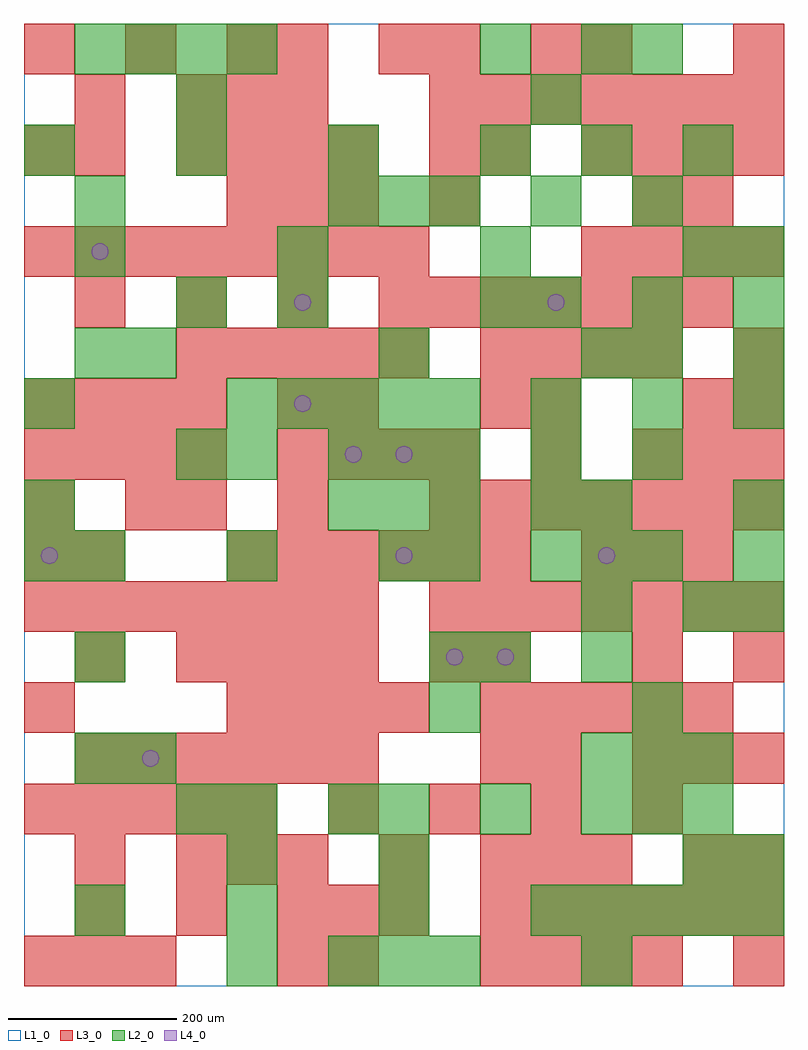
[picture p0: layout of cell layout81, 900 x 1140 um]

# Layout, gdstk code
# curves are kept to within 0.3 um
import gdstk
lib = gdstk.Library(unit=1e-6, precision=1e-09)
def R(c, l, rs):  # rectangles x0, y0, x1, y1
    for r in rs: c.add(gdstk.rectangle(r[:2], r[2:], *l))
def A(c, l, x, y, w, h, nx, ny, dx, dy):  # array of equal rectangles
    R(c, l, [(x+i*dx, y+j*dy, x+i*dx+w, y+j*dy+h) for i in range(nx) for j in range(ny)])
def P(c, l, *ps):  # polygons
    for p in ps: c.add(gdstk.Polygon(p, *l))
L1_0 = (1, 0)
L2_0 = (2, 0)
L3_0 = (3, 0)
L4_0 = (4, 0)

layout81 = lib.new_cell('layout81')
R(layout81, L1_0, [(0,0,900,1140)])
A(layout81, L2_0, 360, 0, 60, 60, 3, 2, 60, 540)
A(layout81, L2_0, 60, 60, 60, 60, 4, 1, 180, 0)
A(layout81, L2_0, 660, 60, 60, 60, 4, 1, 60, 0)
A(layout81, L2_0, 420, 180, 60, 60, 3, 1, 120, 0)
A(layout81, L2_0, 660, 240, 60, 60, 3, 1, 60, 0)
A(layout81, L2_0, 840, 420, 60, 60, 1, 3, 0, 60)
A(layout81, L2_0, 60, 480, 60, 60, 3, 1, 180, 0)
A(layout81, L2_0, 600, 480, 60, 60, 3, 1, 60, 0)
A(layout81, L2_0, 360, 600, 60, 60, 3, 2, 60, 300)
A(layout81, L2_0, 240, 660, 60, 60, 5, 1, 60, 0)
A(layout81, L2_0, 600, 660, 60, 60, 3, 2, 120, 120)
A(layout81, L2_0, 720, 720, 60, 60, 1, 3, 0, 180)
A(layout81, L2_0, 60, 840, 60, 60, 4, 1, 240, 0)
A(layout81, L2_0, 0, 960, 60, 60, 4, 1, 180, 0)
A(layout81, L2_0, 60, 1080, 60, 60, 4, 1, 60, 0)
R(layout81, L2_0, [(240,0,300,60), (660,0,720,60), (240,120,300,180), (420,120,480,180), (780,120,840,180), (840,120,900,180), (180,180,240,240), (240,180,300,240), (360,180,420,240), (720,180,780,240), (780,180,840,240), (60,240,120,300), (120,240,180,300), (480,300,540,360), (720,300,780,360), (60,360,120,420), (480,360,540,420), (540,360,600,420), (660,360,720,420), (660,420,720,480), (780,420,840,480), (0,480,60,540), (480,480,540,540), (0,540,60,600), (600,540,660,600), (660,540,720,600), (180,600,240,660), (240,600,300,660), (600,600,660,660), (720,600,780,660), (0,660,60,720), (60,720,120,780), (120,720,180,780), (420,720,480,780), (660,720,720,780), (840,720,900,780), (180,780,240,840), (300,780,360,840), (540,780,600,840), (840,840,900,900), (60,900,120,960), (600,900,660,960), (660,960,720,1020), (780,960,840,1020), (180,1020,240,1080), (600,1020,660,1080), (540,1080,600,1140), (660,1080,720,1140)])
A(layout81, L3_0, 0, 0, 60, 60, 3, 1, 60, 0)
A(layout81, L3_0, 540, 0, 60, 60, 4, 2, 60, 720)
A(layout81, L3_0, 60, 60, 60, 60, 3, 1, 120, 0)
A(layout81, L3_0, 540, 60, 60, 60, 6, 1, 60, 0)
A(layout81, L3_0, 180, 120, 60, 60, 3, 2, 60, 900)
A(layout81, L3_0, 540, 120, 60, 60, 3, 1, 60, 0)
A(layout81, L3_0, 0, 180, 60, 60, 5, 1, 60, 0)
A(layout81, L3_0, 360, 180, 60, 60, 4, 1, 120, 0)
A(layout81, L3_0, 60, 240, 60, 60, 6, 1, 60, 0)
A(layout81, L3_0, 720, 240, 60, 60, 3, 2, 60, 360)
A(layout81, L3_0, 240, 300, 60, 60, 4, 1, 60, 0)
A(layout81, L3_0, 540, 300, 60, 60, 5, 1, 60, 0)
A(layout81, L3_0, 180, 360, 60, 60, 4, 2, 60, 600)
A(layout81, L3_0, 540, 360, 60, 60, 1, 3, 0, 300)
A(layout81, L3_0, 0, 420, 60, 60, 7, 1, 60, 0)
A(layout81, L3_0, 480, 420, 60, 60, 7, 2, 60, 120)
A(layout81, L3_0, 240, 480, 60, 60, 6, 1, 60, 0)
A(layout81, L3_0, 660, 480, 60, 60, 3, 1, 60, 0)
A(layout81, L3_0, 0, 600, 60, 60, 4, 2, 60, 60)
A(layout81, L3_0, 300, 600, 60, 60, 4, 1, 60, 0)
A(layout81, L3_0, 180, 720, 60, 60, 5, 1, 60, 0)
A(layout81, L3_0, 60, 780, 60, 60, 4, 1, 120, 0)
A(layout81, L3_0, 480, 780, 60, 60, 6, 1, 60, 0)
A(layout81, L3_0, 0, 840, 60, 60, 8, 1, 60, 0)
A(layout81, L3_0, 660, 840, 60, 60, 4, 2, 60, 120)
A(layout81, L3_0, 240, 900, 60, 60, 3, 1, 60, 0)
A(layout81, L3_0, 480, 1020, 60, 60, 7, 1, 60, 0)
A(layout81, L3_0, 0, 1080, 60, 60, 3, 1, 120, 0)
R(layout81, L3_0, [(300,0,360,60), (360,0,420,60), (840,0,900,60), (360,60,420,120), (420,60,480,120), (60,120,120,180), (420,120,480,180), (780,120,840,180), (840,120,900,180), (540,240,600,300), (600,240,660,300), (0,300,60,360), (60,360,120,420), (480,360,540,420), (720,360,780,420), (840,360,900,420), (0,480,60,540), (60,480,120,540), (0,540,60,600), (120,540,180,600), (180,540,240,600), (300,540,360,600), (600,600,660,660), (300,660,360,720), (360,660,420,720), (600,660,660,720), (780,660,840,720), (840,660,900,720), (840,720,900,780), (480,900,540,960), (720,900,780,960), (780,900,840,960), (0,960,60,1020), (60,960,120,1020), (480,960,540,1020), (60,1020,120,1080), (300,1080,360,1140), (420,1080,480,1140), (480,1080,540,1140), (600,1080,660,1140), (660,1080,720,1140), (840,1080,900,1140)])
P(layout81, L4_0, [(40,510),(39.239,513.827),(37.071,517.071),(33.827,519.239),(30,520),(26.173,519.239),(22.929,517.071),(20.761,513.827),(20,510),(20.761,506.173),(22.929,502.929),(26.173,500.761),(30,500),(33.827,500.761),(37.071,502.929),(39.239,506.173)],
  [(100,870),(99.239,873.827),(97.071,877.071),(93.827,879.239),(90,880),(86.173,879.239),(82.929,877.071),(80.761,873.827),(80,870),(80.761,866.173),(82.929,862.929),(86.173,860.761),(90,860),(93.827,860.761),(97.071,862.929),(99.239,866.173)],
  [(160,270),(159.239,273.827),(157.071,277.071),(153.827,279.239),(150,280),(146.173,279.239),(142.929,277.071),(140.761,273.827),(140,270),(140.761,266.173),(142.929,262.929),(146.173,260.761),(150,260),(153.827,260.761),(157.071,262.929),(159.239,266.173)],
  [(340,690),(339.239,693.827),(337.071,697.071),(333.827,699.239),(330,700),(326.173,699.239),(322.929,697.071),(320.761,693.827),(320,690),(320.761,686.173),(322.929,682.929),(326.173,680.761),(330,680),(333.827,680.761),(337.071,682.929),(339.239,686.173)],
  [(340,810),(339.239,813.827),(337.071,817.071),(333.827,819.239),(330,820),(326.173,819.239),(322.929,817.071),(320.761,813.827),(320,810),(320.761,806.173),(322.929,802.929),(326.173,800.761),(330,800),(333.827,800.761),(337.071,802.929),(339.239,806.173)],
  [(400,630),(399.239,633.827),(397.071,637.071),(393.827,639.239),(390,640),(386.173,639.239),(382.929,637.071),(380.761,633.827),(380,630),(380.761,626.173),(382.929,622.929),(386.173,620.761),(390,620),(393.827,620.761),(397.071,622.929),(399.239,626.173)],
  [(460,510),(459.239,513.827),(457.071,517.071),(453.827,519.239),(450,520),(446.173,519.239),(442.929,517.071),(440.761,513.827),(440,510),(440.761,506.173),(442.929,502.929),(446.173,500.761),(450,500),(453.827,500.761),(457.071,502.929),(459.239,506.173)],
  [(460,630),(459.239,633.827),(457.071,637.071),(453.827,639.239),(450,640),(446.173,639.239),(442.929,637.071),(440.761,633.827),(440,630),(440.761,626.173),(442.929,622.929),(446.173,620.761),(450,620),(453.827,620.761),(457.071,622.929),(459.239,626.173)],
  [(520,390),(519.239,393.827),(517.071,397.071),(513.827,399.239),(510,400),(506.173,399.239),(502.929,397.071),(500.761,393.827),(500,390),(500.761,386.173),(502.929,382.929),(506.173,380.761),(510,380),(513.827,380.761),(517.071,382.929),(519.239,386.173)],
  [(580,390),(579.239,393.827),(577.071,397.071),(573.827,399.239),(570,400),(566.173,399.239),(562.929,397.071),(560.761,393.827),(560,390),(560.761,386.173),(562.929,382.929),(566.173,380.761),(570,380),(573.827,380.761),(577.071,382.929),(579.239,386.173)],
  [(640,810),(639.239,813.827),(637.071,817.071),(633.827,819.239),(630,820),(626.173,819.239),(622.929,817.071),(620.761,813.827),(620,810),(620.761,806.173),(622.929,802.929),(626.173,800.761),(630,800),(633.827,800.761),(637.071,802.929),(639.239,806.173)],
  [(700,510),(699.239,513.827),(697.071,517.071),(693.827,519.239),(690,520),(686.173,519.239),(682.929,517.071),(680.761,513.827),(680,510),(680.761,506.173),(682.929,502.929),(686.173,500.761),(690,500),(693.827,500.761),(697.071,502.929),(699.239,506.173)])

lib.write_gds('layout81.gds')
